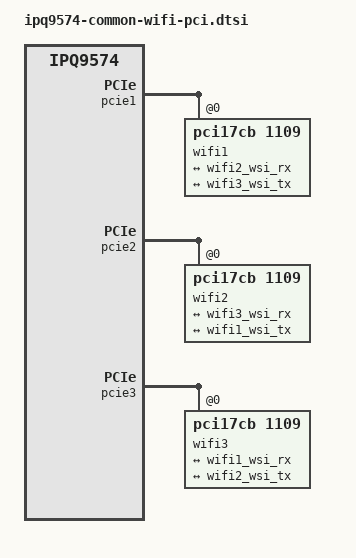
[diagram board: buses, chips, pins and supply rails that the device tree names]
// SPDX-License-Identifier: (GPL-2.0+ OR BSD-3-Clause)

/* Three PCIe radios in the AP-AL02 WSI ring. Board files enable the
 * controllers and provide reset GPIOs, calibration, MACs and memory.
 */

&pcie1 {
	pcie@0,0 {
		device_type = "pci";
		reg = <0x0 0x0 0x0 0x0 0x0>;
		#address-cells = <3>;
		#size-cells = <2>;
		ranges;

		wifi1: wifi@0 {
			compatible = "pci17cb,1109";
			reg = <0x0 0x0 0x0 0x0 0x0>;

			ports {
				#address-cells = <1>;
				#size-cells = <0>;

				port@0 {
					reg = <0>;

					wifi1_wsi_tx: endpoint {
						remote-endpoint = <&wifi2_wsi_rx>;
					};
				};

				port@1 {
					reg = <1>;

					wifi1_wsi_rx: endpoint {
						remote-endpoint = <&wifi3_wsi_tx>;
					};
				};
			};
		};
	};
};

&pcie2 {
	pcie@0,0 {
		device_type = "pci";
		reg = <0x0 0x0 0x0 0x0 0x0>;
		#address-cells = <3>;
		#size-cells = <2>;
		ranges;

		wifi2: wifi@0 {
			compatible = "pci17cb,1109";
			reg = <0x0 0x0 0x0 0x0 0x0>;
			qcom,wsi-controller;

			ports {
				#address-cells = <1>;
				#size-cells = <0>;

				port@0 {
					reg = <0>;

					wifi2_wsi_tx: endpoint {
						remote-endpoint = <&wifi3_wsi_rx>;
					};
				};

				port@1 {
					reg = <1>;

					wifi2_wsi_rx: endpoint {
						remote-endpoint = <&wifi1_wsi_tx>;
					};
				};
			};
		};
	};
};

&pcie3 {
	pcie@0,0 {
		device_type = "pci";
		reg = <0x0 0x0 0x0 0x0 0x0>;
		#address-cells = <3>;
		#size-cells = <2>;
		ranges;

		wifi3: wifi@0 {
			compatible = "pci17cb,1109";
			reg = <0x0 0x0 0x0 0x0 0x0>;

			ports {
				#address-cells = <1>;
				#size-cells = <0>;

				port@0 {
					reg = <0>;

					wifi3_wsi_tx: endpoint {
						remote-endpoint = <&wifi1_wsi_rx>;
					};
				};

				port@1 {
					reg = <1>;

					wifi3_wsi_rx: endpoint {
						remote-endpoint = <&wifi2_wsi_tx>;
					};
				};
			};
		};
	};
};
